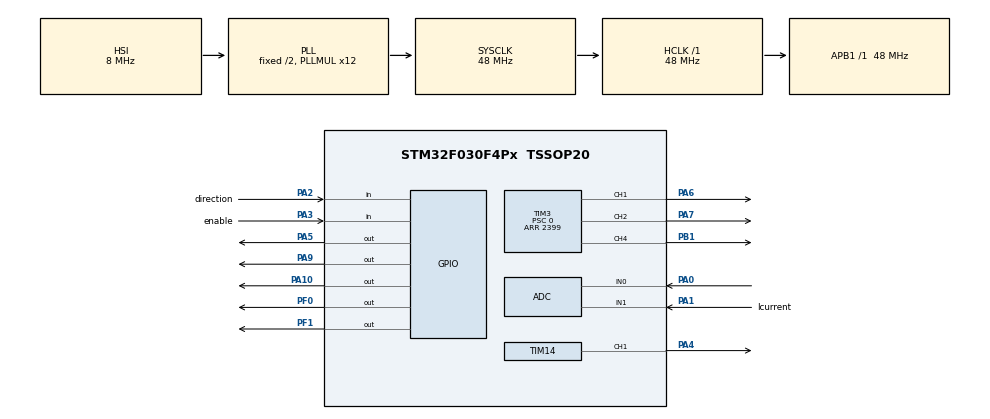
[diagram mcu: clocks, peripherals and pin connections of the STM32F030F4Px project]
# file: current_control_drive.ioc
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ADC.Channel=ADC_CHANNEL_0
ADC.Channel-5\#ChannelRegularConversion=ADC_CHANNEL_1
ADC.Channel-7\#ChannelRegularConversion=ADC_CHANNEL_1
ADC.ContinuousConvMode=ENABLE
ADC.DMAContinuousRequests=ENABLE
ADC.NbrOfConversion=4
ADC.NbrOfConversionFlag=1
ADC.Rank-5\#ChannelRegularConversion=2
ADC.Rank-6\#ChannelRegularConversion=3
ADC.Rank-7\#ChannelRegularConversion=4
Dma.ADC.0.Direction=DMA_PERIPH_TO_MEMORY
Dma.ADC.0.Instance=DMA1_Channel1
Dma.ADC.0.MemDataAlignment=DMA_MDATAALIGN_HALFWORD
Dma.ADC.0.MemInc=DMA_MINC_ENABLE
Dma.ADC.0.Mode=DMA_CIRCULAR
Dma.ADC.0.PeriphDataAlignment=DMA_PDATAALIGN_HALFWORD
Dma.ADC.0.PeriphInc=DMA_PINC_DISABLE
Dma.ADC.0.Priority=DMA_PRIORITY_LOW
Dma.Request0=ADC
Mcu.Family=STM32F0
Mcu.Name=STM32F030F4Px
Mcu.Package=TSSOP20
NVIC.TIM17_IRQn=true\:1\:0\:true
PA0.Mode=IN0
PA0.Signal=ADC_IN0
PA1.GPIO_Label=Icurrent
PA1.GPIO_Mode=GPIO_MODE_ANALOG
PA1.GPIO_PuPd=GPIO_NOPULL
PA1.Mode=IN1
PA1.Signal=ADC_IN1
PA10.Signal=GPIO_Output
PA13.Mode=Serial-WireDebug
PA13.Signal=SYS_SWDIO
PA14.Mode=Serial-WireDebug
PA14.Signal=SYS_SWCLK
PA2.GPIO_Label=direction
PA2.GPIO_Mode=GPIO_MODE_INPUT
PA2.GPIO_PuPd=GPIO_PULLDOWN
PA2.Signal=GPIO_Input
PA3.GPIO_Label=enable
PA3.GPIO_Mode=GPIO_MODE_INPUT
PA3.GPIO_PuPd=GPIO_PULLDOWN
PA3.Signal=GPIO_Input
PA4.Signal=S_TIM14_CH1
PA5.Signal=GPIO_Output
PA6.Signal=S_TIM3_CH1
PA7.Signal=S_TIM3_CH2
PA9.Signal=GPIO_Output
PB1.Signal=S_TIM3_CH4
PF0-OSC_IN.Signal=GPIO_Output
PF1-OSC_OUT.Signal=GPIO_Output
ProjectManager.TargetToolchain=MDK-ARM 4.73
RCC.AHBFreq_Value=48000000
RCC.APB1Freq_Value=48000000
RCC.APB1TimFreq_Value=48000000
RCC.HCLKFreq_Value=48000000
RCC.PLLMUL=RCC_PLL_MUL12
RCC.SYSCLKFreq_VALUE=48000000
RCC.SYSCLKSource=RCC_SYSCLKSOURCE_PLLCLK
SH.S_TIM14_CH1.0=TIM14_CH1,PWM Generation1 CH1
SH.S_TIM3_CH1.0=TIM3_CH1,PWM Generation1 CH1
SH.S_TIM3_CH2.0=TIM3_CH2,PWM Generation2 CH2
SH.S_TIM3_CH4.0=TIM3_CH4,PWM Generation4 CH4
TIM14.OCMode_PWM-PWM\ Generation1\ CH1=TIM_OCMODE_PWM2
TIM14.Period=2399
TIM17.Period=2399
TIM17.Prescaler=0
TIM3.Channel-PWM\ Generation2\ CH2=TIM_CHANNEL_2
TIM3.Channel-PWM\ Generation4\ CH4=TIM_CHANNEL_4
TIM3.OCMode_PWM-PWM\ Generation4\ CH4=TIM_OCMODE_PWM2
TIM3.Period=2399
TIM3.Prescaler=0
VP_TIM14_VS_ClockSourceINT.Mode=Enable_Timer
VP_TIM17_VS_ClockSourceINT.Mode=Enable_Timer

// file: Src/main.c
/**
  ******************************************************************************
  * File Name          : main.c
  * Date               : 21/03/2015 17:50:15
  * Description        : Main program body
  ******************************************************************************
  *
  * COPYRIGHT(c) 2015 STMicroelectronics
  *
  * Redistribution and use in source and binary forms, with or without modification,
  * are permitted provided that the following conditions are met:
  *   1. Redistributions of source code must retain the above copyright notice,
  *      this list of conditions and the following disclaimer.
  *   2. Redistributions in binary form must reproduce the above copyright notice,
  *      this list of conditions and the following disclaimer in the documentation
  *      and/or other materials provided with the distribution.
  *   3. Neither the name of STMicroelectronics nor the names of its contributors
  *      may be used to endorse or promote products derived from this software
  *      without specific prior written permission.
  *
  * THIS SOFTWARE IS PROVIDED BY THE COPYRIGHT HOLDERS AND CONTRIBUTORS "AS IS"
  * AND ANY EXPRESS OR IMPLIED WARRANTIES, INCLUDING, BUT NOT LIMITED TO, THE
  * IMPLIED WARRANTIES OF MERCHANTABILITY AND FITNESS FOR A PARTICULAR PURPOSE ARE
  * DISCLAIMED. IN NO EVENT SHALL THE COPYRIGHT HOLDER OR CONTRIBUTORS BE LIABLE
  * FOR ANY DIRECT, INDIRECT, INCIDENTAL, SPECIAL, EXEMPLARY, OR CONSEQUENTIAL
  * DAMAGES (INCLUDING, BUT NOT LIMITED TO, PROCUREMENT OF SUBSTITUTE GOODS OR
  * SERVICES; LOSS OF USE, DATA, OR PROFITS; OR BUSINESS INTERRUPTION) HOWEVER
  * CAUSED AND ON ANY THEORY OF LIABILITY, WHETHER IN CONTRACT, STRICT LIABILITY,
  * OR TORT (INCLUDING NEGLIGENCE OR OTHERWISE) ARISING IN ANY WAY OUT OF THE USE
  * OF THIS SOFTWARE, EVEN IF ADVISED OF THE POSSIBILITY OF SUCH DAMAGE.
  *
  ******************************************************************************
  */

#include "stm32f0xx_hal.h"

/* USER CODE BEGIN Includes */

#define center_current   3077.0f //
#define offset_zero      0.0f //
/* USER CODE END Includes */

ADC_HandleTypeDef hadc;
DMA_HandleTypeDef hdma_adc;

TIM_HandleTypeDef htim3;
TIM_HandleTypeDef htim14;
TIM_HandleTypeDef htim17;

/* USER CODE BEGIN PV */

uint16_t ADC_raw_data[4] = {0};
float Iref = 0;
float Icurrent = 0;
float Pwm = 0;
float error = 0;
float a = 0;
float b = 0;
float c = 0;
float d = 0;
float e = 0;
/* USER CODE END PV */

void SystemClock_Config(void);
static void MX_GPIO_Init(void);
static void MX_DMA_Init(void);
static void MX_ADC_Init(void);
static void MX_TIM3_Init(void);
static void MX_TIM14_Init(void);
static void MX_TIM17_Init(void);

/* USER CODE BEGIN PFP */

volatile void PI_control(void);
volatile void F_drive(float tmp);
volatile void R_drive(float tmp);
volatile void disable_drive(void);
float Smooth_filter(float alfa, float new_data, float prev_data);

/* USER CODE END PFP */

int main(void)
{

  /* MCU Configuration----------------------------------------------------------*/

  /* Reset of all peripherals, Initializes the Flash interface and the Systick. */
  HAL_Init();

  /* Configure the system clock */
  SystemClock_Config();

  /* Initialize all configured peripherals */
  MX_GPIO_Init();
  MX_DMA_Init();
  MX_ADC_Init();
  MX_TIM3_Init();
  MX_TIM14_Init();
  MX_TIM17_Init();

  /* USER CODE BEGIN 2 */

	disable_drive();

	// enable ADC
	HAL_ADC_Start_DMA(&hadc ,(uint32_t*)ADC_raw_data, 4);

	// enable Pwm
	HAL_TIM_PWM_Start(&htim3, TIM_CHANNEL_1);
	HAL_TIM_PWM_Start(&htim3, TIM_CHANNEL_2);
	HAL_TIM_PWM_Start(&htim3, TIM_CHANNEL_4);
	HAL_TIM_PWM_Start(&htim14, TIM_CHANNEL_1);

	disable_drive();

	// enable sampling
	HAL_TIM_Base_Start_IT(&htim17);

  /* USER CODE END 2 */

  /* USER CODE BEGIN 3 */

  /* Infinite loop */
  while (1)
  {
		HAL_GPIO_TogglePin(GPIOF, GPIO_PIN_0);
		HAL_Delay(50);

		a = ADC_raw_data[0];
		b = ADC_raw_data[1];
		c = ADC_raw_data[2];
		d = ADC_raw_data[3];
		e = Smooth_filter(0.7f, ((float)ADC_raw_data[0] * 0.5f + (float)ADC_raw_data[2] * 0.5f), e);

  }
  /* USER CODE END 3 */

}

/** System Clock Configuration
*/
void SystemClock_Config(void)
{

  RCC_OscInitTypeDef RCC_OscInitStruct;
  RCC_ClkInitTypeDef RCC_ClkInitStruct;

  RCC_OscInitStruct.OscillatorType = RCC_OSCILLATORTYPE_HSI|RCC_OSCILLATORTYPE_HSI14;
  RCC_OscInitStruct.HSIState = RCC_HSI_ON;
  RCC_OscInitStruct.HSI14State = RCC_HSI14_ON;
  RCC_OscInitStruct.HSICalibrationValue = 16;
  RCC_OscInitStruct.HSI14CalibrationValue = 16;
  RCC_OscInitStruct.PLL.PLLState = RCC_PLL_ON;
  RCC_OscInitStruct.PLL.PLLSource = RCC_PLLSOURCE_HSI;
  RCC_OscInitStruct.PLL.PLLMUL = RCC_PLL_MUL12;
  RCC_OscInitStruct.PLL.PREDIV = RCC_PREDIV_DIV1;
  HAL_RCC_OscConfig(&RCC_OscInitStruct);

  RCC_ClkInitStruct.ClockType = RCC_CLOCKTYPE_SYSCLK;
  RCC_ClkInitStruct.SYSCLKSource = RCC_SYSCLKSOURCE_PLLCLK;
  RCC_ClkInitStruct.AHBCLKDivider = RCC_SYSCLK_DIV1;
  RCC_ClkInitStruct.APB1CLKDivider = RCC_HCLK_DIV1;
  HAL_RCC_ClockConfig(&RCC_ClkInitStruct, FLASH_LATENCY_1);

  __SYSCFG_CLK_ENABLE();

}

/* ADC init function */
void MX_ADC_Init(void)
{

  ADC_ChannelConfTypeDef sConfig;

    /**Configure the global features of the ADC (Clock, Resolution, Data Alignment and number of conversion)
    */
  hadc.Instance = ADC1;
  hadc.Init.ClockPrescaler = ADC_CLOCK_ASYNC;
  hadc.Init.Resolution = ADC_RESOLUTION12b;
  hadc.Init.DataAlign = ADC_DATAALIGN_RIGHT;
  hadc.Init.ScanConvMode = ADC_SCAN_DIRECTION_FORWARD;
  hadc.Init.EOCSelection = EOC_SINGLE_CONV;
  hadc.Init.LowPowerAutoWait = DISABLE;
  hadc.Init.LowPowerAutoPowerOff = DISABLE;
  hadc.Init.ContinuousConvMode = ENABLE;
  hadc.Init.DiscontinuousConvMode = DISABLE;
  hadc.Init.ExternalTrigConvEdge = ADC_EXTERNALTRIGCONVEDGE_NONE;
  hadc.Init.DMAContinuousRequests = ENABLE;
  hadc.Init.Overrun = OVR_DATA_PRESERVED;
  HAL_ADC_Init(&hadc);

    /**Configure for the selected ADC regular channel to be converted.
    */
  sConfig.Channel = ADC_CHANNEL_0;
  sConfig.Rank = 1;
  sConfig.SamplingTime = ADC_SAMPLETIME_1CYCLE_5;
  HAL_ADC_ConfigChannel(&hadc, &sConfig);

    /**Configure for the selected ADC regular channel to be converted.
    */
  sConfig.Channel = ADC_CHANNEL_1;
  sConfig.Rank = 2;
  HAL_ADC_ConfigChannel(&hadc, &sConfig);

    /**Configure for the selected ADC regular channel to be converted.
    */
  sConfig.Channel = ADC_CHANNEL_0;
  sConfig.Rank = 3;
  HAL_ADC_ConfigChannel(&hadc, &sConfig);

    /**Configure for the selected ADC regular channel to be converted.
    */
  sConfig.Channel = ADC_CHANNEL_1;
  sConfig.Rank = 4;
  HAL_ADC_ConfigChannel(&hadc, &sConfig);

}

/* TIM3 init function */
void MX_TIM3_Init(void)
{

  TIM_MasterConfigTypeDef sMasterConfig;
  TIM_OC_InitTypeDef sConfigOC;

  htim3.Instance = TIM3;
  htim3.Init.Prescaler = 0;
  htim3.Init.CounterMode = TIM_COUNTERMODE_UP;
  htim3.Init.Period = 2399;
  htim3.Init.ClockDivision = TIM_CLOCKDIVISION_DIV1;
  HAL_TIM_PWM_Init(&htim3);

  sMasterConfig.MasterOutputTrigger = TIM_TRGO_RESET;
  sMasterConfig.MasterSlaveMode = TIM_MASTERSLAVEMODE_DISABLE;
  HAL_TIMEx_MasterConfigSynchronization(&htim3, &sMasterConfig);

  sConfigOC.OCMode = TIM_OCMODE_PWM1;
  sConfigOC.Pulse = 0;
  sConfigOC.OCPolarity = TIM_OCPOLARITY_HIGH;
  sConfigOC.OCFastMode = TIM_OCFAST_DISABLE;
  HAL_TIM_PWM_ConfigChannel(&htim3, &sConfigOC, TIM_CHANNEL_1);

  HAL_TIM_PWM_ConfigChannel(&htim3, &sConfigOC, TIM_CHANNEL_2);

  sConfigOC.OCMode = TIM_OCMODE_PWM2;
  HAL_TIM_PWM_ConfigChannel(&htim3, &sConfigOC, TIM_CHANNEL_4);

}

/* TIM14 init function */
void MX_TIM14_Init(void)
{

  TIM_OC_InitTypeDef sConfigOC;

  htim14.Instance = TIM14;
  htim14.Init.Prescaler = 0;
  htim14.Init.CounterMode = TIM_COUNTERMODE_UP;
  htim14.Init.Period = 2399;
  htim14.Init.ClockDivision = TIM_CLOCKDIVISION_DIV1;
  HAL_TIM_Base_Init(&htim14);

  HAL_TIM_PWM_Init(&htim14);

  sConfigOC.OCMode = TIM_OCMODE_PWM2;
  sConfigOC.Pulse = 0;
  sConfigOC.OCPolarity = TIM_OCPOLARITY_HIGH;
  sConfigOC.OCFastMode = TIM_OCFAST_DISABLE;
  HAL_TIM_PWM_ConfigChannel(&htim14, &sConfigOC, TIM_CHANNEL_1);

}

/* TIM17 init function */
void MX_TIM17_Init(void)
{

  htim17.Instance = TIM17;
  htim17.Init.Prescaler = 0;
  htim17.Init.CounterMode = TIM_COUNTERMODE_UP;
  htim17.Init.Period = 2399;
  htim17.Init.ClockDivision = TIM_CLOCKDIVISION_DIV1;
  htim17.Init.RepetitionCounter = 0;
  HAL_TIM_Base_Init(&htim17);

}

void MX_DMA_Init(void)
{
  /* DMA controller clock enable */
  __DMA1_CLK_ENABLE();

  /* DMA interrupt init */

}

/** Configure pins as
        * Analog
        * Input
        * Output
        * EVENT_OUT
        * EXTI
*/
void MX_GPIO_Init(void)
{

  GPIO_InitTypeDef GPIO_InitStruct;

  /* GPIO Ports Clock Enable */
  __GPIOF_CLK_ENABLE();
  __GPIOA_CLK_ENABLE();
  __GPIOB_CLK_ENABLE();

  /*Configure GPIO pins : PF0 PF1 */
  GPIO_InitStruct.Pin = GPIO_PIN_0|GPIO_PIN_1;
  GPIO_InitStruct.Mode = GPIO_MODE_OUTPUT_PP;
  GPIO_InitStruct.Pull = GPIO_NOPULL;
  GPIO_InitStruct.Speed = GPIO_SPEED_LOW;
  HAL_GPIO_Init(GPIOF, &GPIO_InitStruct);

  /*Configure GPIO pins : PA2 PA3 */
  GPIO_InitStruct.Pin = GPIO_PIN_2|GPIO_PIN_3;
  GPIO_InitStruct.Mode = GPIO_MODE_INPUT;
  GPIO_InitStruct.Pull = GPIO_PULLDOWN;
  HAL_GPIO_Init(GPIOA, &GPIO_InitStruct);

  /*Configure GPIO pins : PA5 PA9 PA10 */
  GPIO_InitStruct.Pin = GPIO_PIN_5|GPIO_PIN_9|GPIO_PIN_10;
  GPIO_InitStruct.Mode = GPIO_MODE_OUTPUT_PP;
  GPIO_InitStruct.Pull = GPIO_NOPULL;
  GPIO_InitStruct.Speed = GPIO_SPEED_LOW;
  HAL_GPIO_Init(GPIOA, &GPIO_InitStruct);

}

/* USER CODE BEGIN 4 */

volatile void PI_control(void)
{
  HAL_GPIO_WritePin(GPIOA, GPIO_PIN_5, GPIO_PIN_SET);

//	Icurrent = center_current - ((float)ADC_raw_data[0] * 0.5f + (float)ADC_raw_data[2] * 0.5f);
	Icurrent = Smooth_filter(0.5f, center_current - ((float)ADC_raw_data[0] * 0.5f + (float)ADC_raw_data[2] * 0.5f), Icurrent);
	if (Icurrent < 0) Icurrent = 0;

//	Iref = ((float)ADC_raw_data[1] * 0.5f + (float)ADC_raw_data[3] * 0.5f) * 0.6f;

	Iref = Smooth_filter(0.5f, (((float)ADC_raw_data[1] * 0.5f + (float)ADC_raw_data[3] * 0.5f)* 0.6f) - offset_zero, Iref);
	error = Iref - Icurrent;

	if (error < 50 && error > -50)
	{
		HAL_GPIO_WritePin(GPIOA, GPIO_PIN_10, GPIO_PIN_SET);
	}else{
		HAL_GPIO_WritePin(GPIOA, GPIO_PIN_10, GPIO_PIN_RESET);
	}

	Pwm +=  error*0.025f;

	if (Pwm >2300) Pwm = 2300;
	if (Pwm < 0) Pwm = 0;

	if (HAL_GPIO_ReadPin(GPIOA, GPIO_PIN_3) == GPIO_PIN_SET )
	{
		if (HAL_GPIO_ReadPin(GPIOA, GPIO_PIN_2) == GPIO_PIN_SET )
		{
			F_drive(Pwm);
		}else{
			R_drive(Pwm);
		}

	}else{

		disable_drive();
	}

	HAL_GPIO_WritePin(GPIOA, GPIO_PIN_5, GPIO_PIN_RESET);
}

volatile void F_drive(float tmp)
{
	TIM3->CNT = 0;
	TIM14->CNT = 0;

	TIM3 -> CCR1 = 0;
	TIM3 -> CCR2 = 0;
	TIM3 -> CCR4 = 0;
	TIM14 -> CCR1 = 0;
//	HAL_GPIO_WritePin(GPIOB, GPIO_PIN_1, GPIO_PIN_SET);
//	HAL_GPIO_WritePin(GPIOA, GPIO_PIN_5, GPIO_PIN_RESET);

	if (tmp > 2300) tmp = 2300 ;
	if (tmp < 0)    tmp = 0 ;
	TIM3 -> CCR2 = tmp;
	TIM14 -> CCR1 = tmp;
}
volatile void R_drive(float tmp)
{
	TIM3->CNT = 0;
	TIM14->CNT = 0;

	TIM3 -> CCR1 = 0;
	TIM3 -> CCR2 = 0;
	TIM3 -> CCR4 = 0;
	TIM14 -> CCR1 = 0;
//	HAL_GPIO_WritePin(GPIOA, GPIO_PIN_5, GPIO_PIN_SET);
//	HAL_GPIO_WritePin(GPIOB, GPIO_PIN_1, GPIO_PIN_RESET);

	if (tmp > 2300) tmp = 2300;
	if (tmp < 0)    tmp = 0;
	TIM3 -> CCR1 = tmp;
	TIM3 -> CCR4 = tmp;
}
volatile void disable_drive(void)
{
	TIM3->CNT = 0;
	TIM14->CNT = 0;
//	HAL_GPIO_WritePin(GPIOA, GPIO_PIN_5, GPIO_PIN_SET);
//	HAL_GPIO_WritePin(GPIOB, GPIO_PIN_1, GPIO_PIN_SET);
	TIM3 -> CCR1 = 0;
	TIM3 -> CCR2 = 0;
	TIM3 -> CCR4 = 0;
	TIM14 -> CCR1 = 0;
}

float Smooth_filter(float alfa, float new_data, float prev_data)
{
  float output = prev_data + (alfa * (new_data - prev_data));
  return output;
}
/* USER CODE END 4 */

/************************ (C) COPYRIGHT STMicroelectronics *****END OF FILE****/
